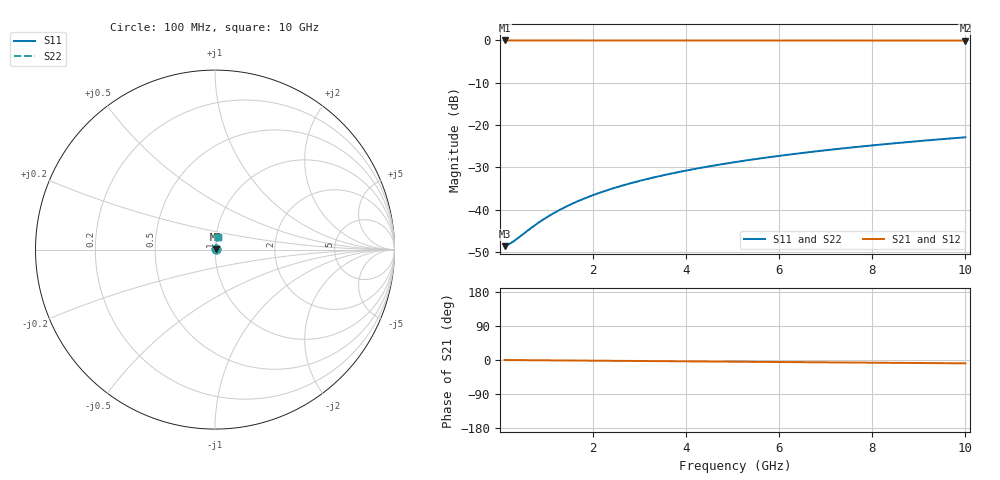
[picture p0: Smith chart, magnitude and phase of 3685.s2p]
# Hz S RI R 50.00
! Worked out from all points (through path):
!   100 points, 100 MHz to 10 GHz, reference 50 ohm
!   highest |S21| = -0.03 dB at 100 MHz (marker M1); lowest = -0.1 dB at 10 GHz (marker M2)
!   group delay of S21, straight-line fit = 2.46 ps
!   lowest |S11| = -48.6 dB at 100 MHz (marker M3), VSWR 1.01, Z = 50.4 + j0.0721 ohm
!   |S11| at or under -10 dB: start of sweep to end of sweep
!   |S22| runs from -48.6 to -22.9 dB; largest |S21 - S12| = 0
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1e8  0.00366 0.000715  0.9963 -0.00154  0.9963 -0.00154  0.00366 0.000715
2e8  0.00369 0.00143  0.9963 -0.00308  0.9963 -0.00308  0.00369 0.00143
3e8  0.00371 0.00215  0.9963 -0.00462  0.9963 -0.00462  0.00371 0.00215
8e8  0.00383 0.00572  0.9961 -0.0123  0.9961 -0.0123  0.00383 0.00572
9e8  0.00385 0.00644  0.9961 -0.0139  0.9961 -0.0139  0.00385 0.00644
1.1e9  0.00391 0.00786  0.996 -0.0169  0.996 -0.0169  0.00391 0.00786
1.4e9  0.00401 0.01  0.9959 -0.0215  0.9959 -0.0215  0.00401 0.01
1.6e9  0.00409 0.0114  0.9958 -0.0246  0.9958 -0.0246  0.00409 0.0114
1.8e9  0.00418 0.0129  0.9957 -0.0277  0.9957 -0.0277  0.00418 0.0129
2.1e9  0.00432 0.015  0.9955 -0.0323  0.9955 -0.0323  0.00432 0.015
2.5e9  0.00454 0.0179  0.9952 -0.0385  0.9952 -0.0385  0.00454 0.0179
2.9e9  0.0048 0.0207  0.9949 -0.0446  0.9949 -0.0446  0.0048 0.0207
3.4e9  0.00516 0.0243  0.9944 -0.0523  0.9944 -0.0523  0.00516 0.0243
3.8e9  0.00549 0.0271  0.994 -0.0584  0.994 -0.0584  0.00549 0.0271
4.2e9  0.00586 0.0299  0.9935 -0.0646  0.9935 -0.0646  0.00586 0.0299
4.6e9  0.00626 0.0328  0.993 -0.0707  0.993 -0.0707  0.00626 0.0328
5.1e9  0.00681 0.0363  0.9923 -0.0783  0.9923 -0.0783  0.00681 0.0363
5.9e9  0.0078 0.0419  0.991 -0.0906  0.991 -0.0906  0.0078 0.0419
6.7e9  0.00893 0.0475  0.9895 -0.1028  0.9895 -0.1028  0.00893 0.0475
7.5e9  0.0102 0.0531  0.9878 -0.115  0.9878 -0.115  0.0102 0.0531
8.4e9  0.0118 0.0593  0.9857 -0.1286  0.9857 -0.1286  0.0118 0.0593
1e10  0.015 0.0702  0.9815 -0.1528  0.9815 -0.1528  0.015 0.0702
